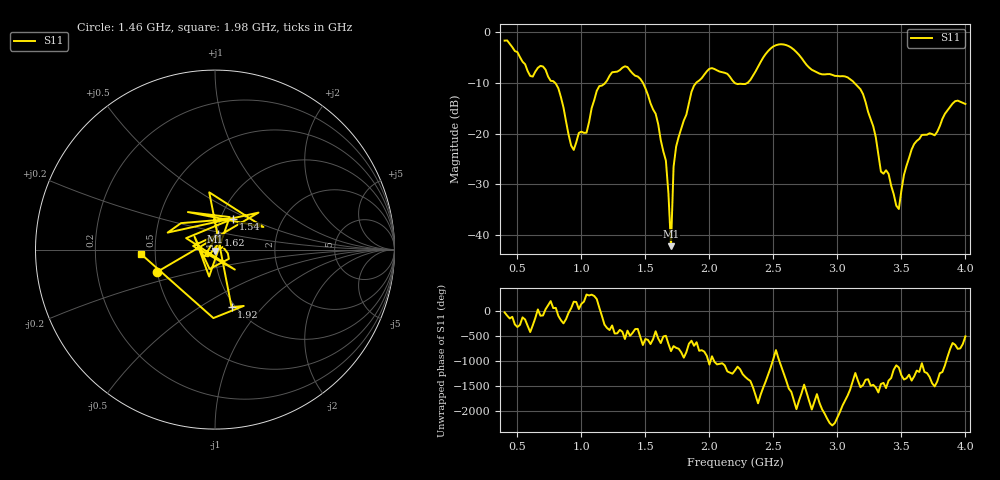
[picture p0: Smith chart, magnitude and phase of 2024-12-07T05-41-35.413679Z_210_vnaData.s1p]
!Created with skrf (http://scikit-rf.org).
# Hz S RI R 50.0
!freq ReS11 ImS11
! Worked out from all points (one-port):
!   181 points, 400 MHz to 4 GHz, reference 50 ohm
!   lowest |S11| = -42.2 dB at 1.7 GHz (marker M1), VSWR 1.02, Z = 50.1 - j0.767 ohm
!   |S11| at or under -10 dB: 794.2 MHz to 1.186 GHz (391.6 MHz wide, 39.6 % of centre); 1.481 GHz to 1.896 GHz (415.3 MHz wide, 24.6 % of centre); 3.132 GHz to end of sweep (the widest 3 of 4)
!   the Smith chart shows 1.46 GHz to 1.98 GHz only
!   S11 on the Smith chart (normalised r, x): 1.46 GHz: 0.50, -0.14; 1.54 GHz: 1.14, +0.41; 1.62 GHz: 1.02, +0.17; 1.92 GHz: 0.96, -0.69; 1.98 GHz: 0.42, -0.03
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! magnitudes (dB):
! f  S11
! 400 MHz  -1.7
! 600 MHz  -8.6
! 700 MHz  -6.8
! 860 MHz  -14.9
! 940 MHz  -23.2
! 1.04 GHz  -19.8
! 1.14 GHz  -10.6
! 1.3 GHz  -7.5
! 1.46 GHz  -9.2
! 1.54 GHz  -14.0
! 1.62 GHz  -21.3
! 1.66 GHz  -25.3
! 1.7 GHz  -42.2
! 1.72 GHz  -26.6
! 1.76 GHz  -20.6
! 1.92 GHz  -9.5
! 1.98 GHz  -7.7
! 2.2 GHz  -10.1
! 2.5 GHz  -2.8
! 2.66 GHz  -3.4
! 3.1 GHz  -9.3
! 3.2 GHz  -12.2
! 3.34 GHz  -27.5
! 3.4 GHz  -28.0
! 3.46 GHz  -34.2
! 3.48 GHz  -34.9
! 3.56 GHz  -24.8
! 4 GHz  -14.2
